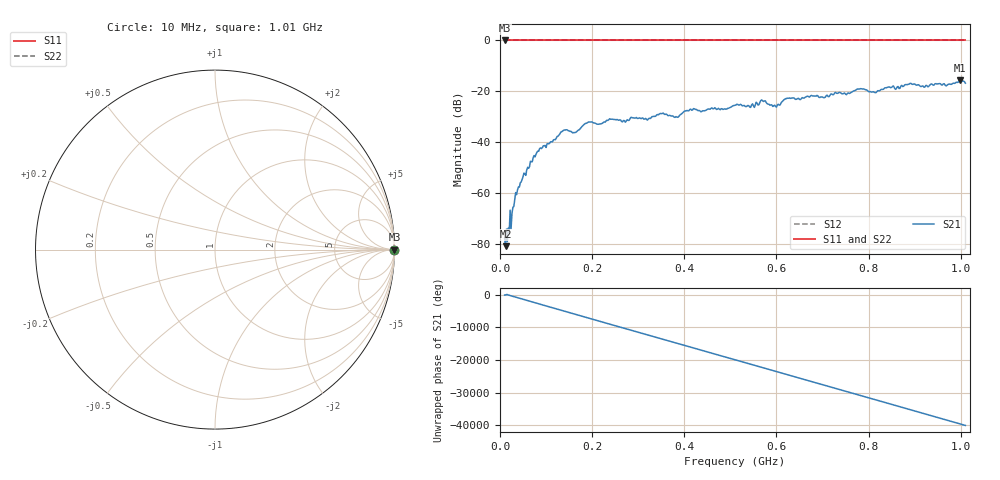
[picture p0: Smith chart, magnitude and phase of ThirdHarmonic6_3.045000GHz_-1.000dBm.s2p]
! 8/17/2025 8:49:51 AM
! C:\ANRITSUVNA\TEMP\TEMP.S2P
! CHANNEL.1
! TR.MEASUREMENT
! RAW.DATA
! RF.CORRECTION.OFF
! AVERAGING.OFF
! IF.BANDWIDTH: 5KHZ
! SWEEPTYPE:  FREQ.SWEEP(Linear)
! Reference Plane Port Info
! PORT:  PORT1  PORT2
! DISTANCE:  0  m  0  m
! TIME:  0  s  0  s
! PHASE.OFFSET:  0  deg.  0  deg.
! LOSS:  0  dB  0  dB
! REF.LOSS:  0  dB  0  dB
! REF.FREQ:  0  Hz  0  Hz
! Power Info
! POWER:  -20  dBm  -20  dBm
! EFF.POWER:  -20  dBm  -20  dBm
! SOURCE.ATTEN:  0  dB  0  dB
! TEST.ATTEN:  0  dB  0  dB
# GHZ S RI R 50.0
! FREQ.GHZ  S11RE  S11IM  S21RE  S21IM  S12RE  S12IM  S22RE  S22IM
!; PortSelection: Port_12
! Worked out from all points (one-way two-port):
!   501 points, 10 MHz to 1.01 GHz, reference 50 ohm
!   highest |S21| = -15.66 dB at 998 MHz (marker M1); lowest = -80.7 dB at 12 MHz (marker M2)
!   lowest |S11| = 0.0 dB at 10 MHz (marker M3)
!   |S11| at or under -10 dB: nowhere
!   |S22| runs from 0.0 to 0.0 dB; largest |S21 - S12| = 1.2
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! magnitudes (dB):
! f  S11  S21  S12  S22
! 10 MHz  0.0  -77.6  0.0  0.0
! 12 MHz  0.0  -80.7  0.0  0.0
! 20 MHz  0.0  -75.4  0.0  0.0
! 36 MHz  0.0  -60.5  0.0  0.0
! 76 MHz  0.0  -45.7  0.0  0.0
! 136 MHz  0.0  -35.6  0.0  0.0
! 162 MHz  0.0  -36.1  0.0  0.0
! 178 MHz  0.0  -33.8  0.0  0.0
! 344 MHz  0.0  -29.2  0.0  0.0
! 382 MHz  0.0  -29.9  0.0  0.0
! 416 MHz  0.0  -27.4  0.0  0.0
! 510 MHz  0.0  -25.4  0.0  0.0
! 548 MHz  0.0  -24.9  0.0  0.0
! 570 MHz  0.0  -23.7  0.0  0.0
! 596 MHz  0.0  -25.4  0.0  0.0
! 622 MHz  0.0  -22.8  0.0  0.0
! 678 MHz  0.0  -21.8  0.0  0.0
! 780 MHz  0.0  -19.1  0.0  0.0
! 814 MHz  0.0  -20.5  0.0  0.0
! 844 MHz  0.0  -18.2  0.0  0.0
! 998 MHz  0.0  -15.7  0.0  0.0
! 1.01 GHz  0.0  -16.8  0.0  0.0
